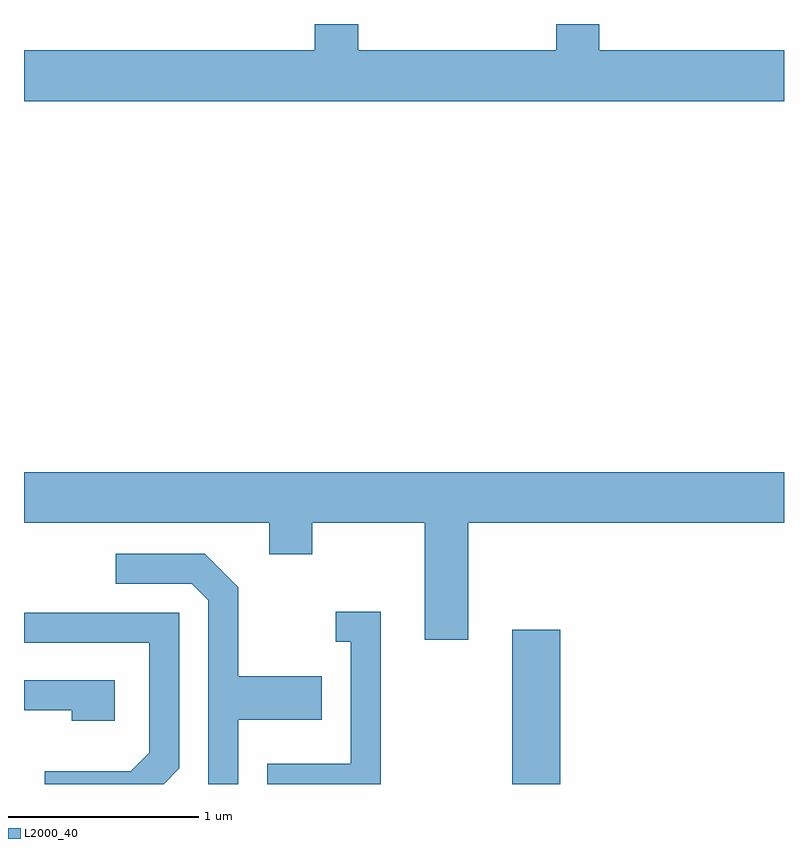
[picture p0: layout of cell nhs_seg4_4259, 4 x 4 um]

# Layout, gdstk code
import gdstk
lib = gdstk.Library(unit=1e-6, precision=1e-09)
def R(c, l, rs):  # rectangles x0, y0, x1, y1
    for r in rs: c.add(gdstk.rectangle(r[:2], r[2:], *l))
def P(c, l, *ps):  # polygons
    for p in ps: c.add(gdstk.Polygon(p, *l))
L2000_40 = (2000, 40)

nhs_seg4_4259 = lib.new_cell('nhs_seg4_4259')
R(nhs_seg4_4259, L2000_40, [(312.181,1339.982,312.434,1340.794)])
P(nhs_seg4_4259, L2000_40, [(313.611,1343.844),(312.639,1343.844),(312.639,1343.982),(312.411,1343.982),(312.411,1343.844),(311.369,1343.844),(311.369,1343.982),(311.141,1343.982),(311.141,1343.844),(309.611,1343.844),(309.611,1343.576),(313.611,1343.576)],
  [(311.949,1341.356),(313.611,1341.356),(313.611,1341.624),(309.611,1341.624),(309.611,1341.356),(310.901,1341.356),(310.901,1341.191),(311.129,1341.191),(311.129,1341.356),(311.721,1341.356),(311.721,1340.741),(311.949,1340.741)],
  [(310.739,1340.321),(311.179,1340.321),(311.179,1340.549),(310.739,1340.549),(310.739,1341.017),(310.562,1341.194),(310.093,1341.194),(310.093,1341.036),(310.494,1341.036),(310.581,1340.949),(310.581,1339.982),(310.739,1339.982)],
  [(311.489,1340.889),(311.253,1340.889),(311.253,1340.731),(311.331,1340.731),(311.331,1340.089),(310.891,1340.089),(310.891,1339.982),(311.489,1339.982)],
  [(310.429,1340.064),(310.429,1340.884),(309.611,1340.884),(309.611,1340.726),(310.271,1340.726),(310.271,1340.147),(310.174,1340.049),(309.721,1340.049),(309.721,1339.982),(310.347,1339.982)],
  [(310.089,1340.529),(309.611,1340.529),(309.611,1340.371),(309.861,1340.371),(309.861,1340.316),(310.089,1340.316)])

lib.write_gds('nhs_seg4_4259.gds')
